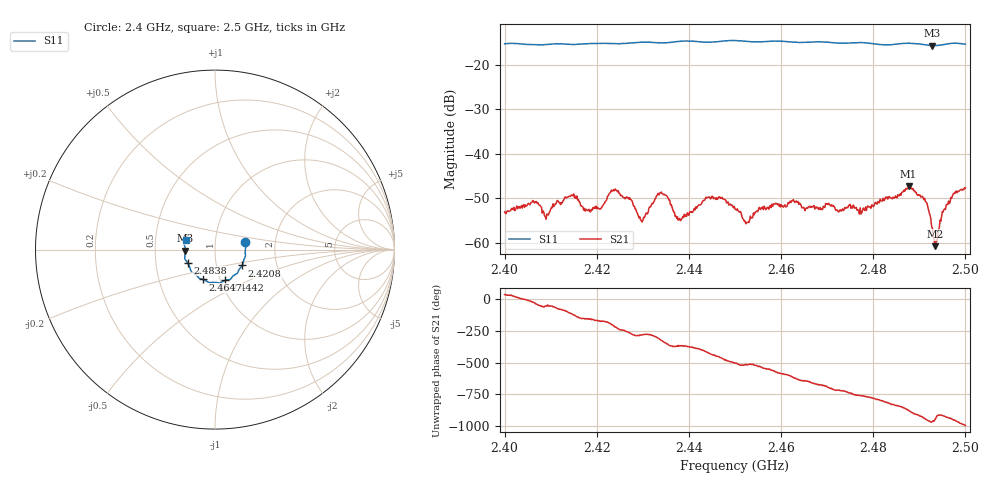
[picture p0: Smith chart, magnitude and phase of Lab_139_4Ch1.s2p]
# Hz S RI R 50
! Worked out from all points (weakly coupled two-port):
!   601 points, 2.4 GHz to 2.5 GHz, reference 50 ohm
!   highest |S21| = -47.33 dB at 2.4877 GHz (marker M1); lowest = -60.8 dB at 2.4935 GHz (marker M2)
!   lowest |S11| = -15.6 dB at 2.4928 GHz (marker M3), VSWR 1.40, Z = 35.8 - j0.417 ohm
!   |S11| at or under -10 dB: start of sweep to end of sweep
!   S12 and S22 are empty: the file has one direction only
!   S11 on the Smith chart (normalised r, x): 2.4 GHz: 1.40, +0.12; 2.4208 GHz: 1.33, -0.24; 2.4442 GHz: 1.05, -0.37; 2.4647 GHz: 0.83, -0.29; 2.4838 GHz: 0.73, -0.11; 2.5 GHz: 0.71, +0.08
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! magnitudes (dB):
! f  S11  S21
! 2.4 GHz  -15.2  -53.1
! 2.4092 GHz  -15.4  -53.5
! 2.4145 GHz  -15.4  -49.3
! 2.4167 GHz  -15.3  -51.7
! 2.4208 GHz  -15.1  -52.4
! 2.4242 GHz  -15.2  -48.2
! 2.43 GHz  -14.8  -55.0
! 2.4333 GHz  -15.0  -48.9
! 2.438 GHz  -14.7  -54.6
! 2.4442 GHz  -14.9  -49.8
! 2.45 GHz  -14.5  -52.5
! 2.4525 GHz  -14.7  -55.4
! 2.4647 GHz  -14.9  -52.2
! 2.4667 GHz  -14.8  -51.8
! 2.4833 GHz  -15.5  -49.7
! 2.4838 GHz  -15.4  -50.0
! 2.4877 GHz  -15.1  -47.3
! 2.4912 GHz  -15.5  -50.0
! 2.4928 GHz  -15.6  -56.7
! 2.4935 GHz  -15.6  -60.8
! 2.4955 GHz  -15.3  -52.4
! 2.5 GHz  -15.3  -47.7
